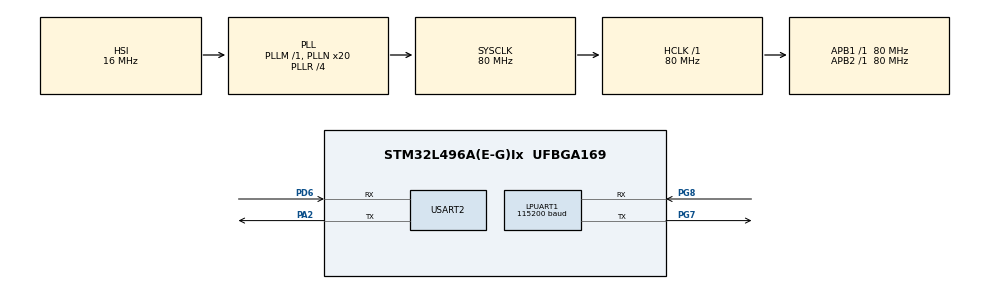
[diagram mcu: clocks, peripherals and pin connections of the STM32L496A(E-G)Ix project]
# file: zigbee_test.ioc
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FREERTOS.Tasks01=defaultTask,0,128,StartDefaultTask,Default,NULL,Dynamic,NULL,NULL
FREERTOS.configCHECK_FOR_STACK_OVERFLOW=2
FREERTOS.configGENERATE_RUN_TIME_STATS=1
FREERTOS.configTOTAL_HEAP_SIZE=16000
FREERTOS.configUSE_MALLOC_FAILED_HOOK=1
FREERTOS.configUSE_STATS_FORMATTING_FUNCTIONS=1
FREERTOS.configUSE_TRACE_FACILITY=1
LPUART1.BaudRate=115200
LPUART1.DMADisableonRxErrorParam=UART_ADVFEATURE_DMA_DISABLEONRXERROR
LPUART1.OverrunDisableParam=UART_ADVFEATURE_OVERRUN_DISABLE
LPUART1.WordLength=UART_WORDLENGTH_8B
Mcu.Family=STM32L4
Mcu.Name=STM32L496A(E-G)Ix
Mcu.Package=UFBGA169
NVIC.LPUART1_IRQn=true\:5\:0\:false\:false\:true\:true\:true\:true
NVIC.PriorityGroup=NVIC_PRIORITYGROUP_4
NVIC.TIM1_UP_TIM16_IRQn=true\:0\:0\:false\:false\:true\:false\:false\:true
NVIC.TimeBase=TIM1_UP_TIM16_IRQn
NVIC.TimeBaseIP=TIM1
PA2.Mode=Asynchronous
PA2.Signal=USART2_TX
PD6.Mode=Asynchronous
PD6.Signal=USART2_RX
PG7.Mode=Asynchronous
PG7.Signal=LPUART1_TX
PG8.Mode=Asynchronous
PG8.Signal=LPUART1_RX
ProjectManager.HeapSize=0x200
ProjectManager.StackSize=0x400
ProjectManager.TargetToolchain=STM32CubeIDE
RCC.ADCFreq_Value=64000000
RCC.AHBFreq_Value=80000000
RCC.APB1Freq_Value=80000000
RCC.APB1TimFreq_Value=80000000
RCC.APB2Freq_Value=80000000
RCC.APB2TimFreq_Value=80000000
RCC.CortexFreq_Value=80000000
RCC.HCLKFreq_Value=80000000
RCC.HSE_VALUE=8000000
RCC.HSI48_VALUE=48000000
RCC.HSI_VALUE=16000000
RCC.LSE_VALUE=32768
RCC.MSI_VALUE=4000000
RCC.PLLN=20
RCC.PLLR=RCC_PLLR_DIV4
RCC.PLLSourceVirtual=RCC_PLLSOURCE_HSI
RCC.SYSCLKFreq_VALUE=80000000
RCC.SYSCLKSource=RCC_SYSCLKSOURCE_PLLCLK
RCC.USBFreq_Value=64000000
RCC.VCOOutputFreq_Value=320000000
USART2.DMADisableonRxErrorParam=ADVFEATURE_DMA_DISABLEONRXERROR
USART2.OverrunDisableParam=ADVFEATURE_OVERRUN_DISABLE
USART2.VirtualMode-Asynchronous=VM_ASYNC
VP_FREERTOS_VS_CMSIS_V1.Mode=CMSIS_V1
VP_SYS_VS_tim1.Mode=TIM1
board=custom

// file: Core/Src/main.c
/* USER CODE BEGIN Header */
/**
 ******************************************************************************
 * @file           : main.c
 * @brief          : Main program body
 ******************************************************************************
 * @attention
 *
 * <h2><center>&copy; Copyright (c) 2021 STMicroelectronics.
 * All rights reserved.</center></h2>
 *
 * This software component is licensed by ST under BSD 3-Clause license,
 * the "License"; You may not use this file except in compliance with the
 * License. You may obtain a copy of the License at:
 *                        opensource.org/licenses/BSD-3-Clause
 *
 ******************************************************************************
 */
/* USER CODE END Header */

#include "main.h"
#include "cmsis_os.h"
#include "usart.h"
#include "gpio.h"

/* USER CODE BEGIN Includes */
#include <stdarg.h>
#include <stdio.h>
#include <string.h>

#include "dbgPrint.h"
#include "mtAf.h"
#include "mtAppCfg.h"
#include "mtParser.h"
#include "mtSys.h"
#include "mtUtil.h"
#include "mtZdo.h"
#include "rpc.h"
#include "rpcTransport.h"
#include "znp_cmd.h"
#include "znp_if.h"
#include "log.h"

/* USER CODE END Includes */

void SystemClock_Config(void);
void MX_FREERTOS_Init(void);

/* USER CODE BEGIN 0 */

/////////////////////////////////////////////////

typedef enum {
    ZB_DANFOSS_ALLY,
} airmon_zigbee_device_t;

typedef struct {
    uint8_t is_initialized;
    uint32_t last_poll_time;
} zigbee_device_info_t;

typedef struct {
    char manufact_name[32];
    char device_name[32];
    airmon_zigbee_device_t type;
    uint16_t adr_short;
    uint64_t adr_ieee;

    zigbee_device_info_t info; // volatile, should not be saved
} zigbee_device_t;

zigbee_device_t *zigbee_device_get_free_handle(void) {
    static zigbee_device_t device = {0};
    return &device;
}

void zigbee_device_save(zigbee_device_t *dev) {

}

void task_maintain_devices(void *param) {

    while (1) {

    }
}

void task_register_device(void *param) {
    // parse parameter
    uint16_t *adr_p = (uint16_t *)param;
    uint16_t adr = *adr_p;

    // feedback
    log_print("[0x%04x] -> Device init started\r\n", adr);

    // get free device handle
    zigbee_device_t *dev = zigbee_device_get_free_handle();

    // sanity check
    if (dev == NULL) {
        // feedback
        log_print("[0x%04x] -> No more free handles\r\n", adr);

        // done, stop the task
        goto end_task;
    }

    // update device address
    dev->adr_short = adr;

    // check if the device already exists
    if (!znp_if_dev_exists(dev->adr_short)) {
        // feedback
        log_print("[0x%04x] -> Device not registered\r\n", dev->adr_short);

        // done, stop the task
        goto end_task;
    }

    // refresh device info
    if (znp_cmd_dev_refresh_info(dev->adr_short) != 0) {
        // feedback
        log_print("[0x%04x] -> Device couldn't be refreshed\r\n", dev->adr_short);

        // done, stop the task
        goto end_task;
    }

    // register device info
    if (znp_cmd_dev_register(dev->adr_short) != 0) {
        // feedback
        log_print("[0x%04x] -> Device couldn't be registered\r\n", dev->adr_short);

        // done, stop the task
        goto end_task;
    }

    // read ieee address
    if (znp_cmd_dev_get_ieee(dev->adr_short, &dev->adr_ieee) != 0) {
        // feedback
        log_print("[0x%04x] -> Device IEEE couldn't be read\r\n", dev->adr_short);

        // done, stop the task
        goto end_task;
    }

    // read manufacturer name cluster
    zcl_cluster_record_t wr;
    if (znp_cmd_cluster_in_read(dev->adr_short, 0x0000, 0x0004, &wr) != 0) {
        // feedback
        log_print("[0x%04x] -> Device couldn't be read\r\n", dev->adr_short);

        // done, stop the task
        goto end_task;
    }

    // check received type
    if (wr.type != ZCL_CHARACTER_STRING) {
        // feedback
        log_print("[0x%04x] -> Device response type not ok\r\n", dev->adr_short);

        // done, stop the task
        goto end_task;
    }

    // save the name
    memcpy(dev->manufact_name, wr.data_arr, MIN(32, wr.data_arr_len));

    // read device name cluster
    if (znp_cmd_cluster_in_read(dev->adr_short, 0x0000, 0x0005, &wr) != 0) {
        // feedback
        log_print("[0x%04x] -> Device couldn't be read\r\n", dev->adr_short);

        // done, stop the task
        goto end_task;
    }

    // check received type
    if (wr.type != ZCL_CHARACTER_STRING) {
        // feedback
        log_print("[0x%04x] -> Device response type not ok\r\n", dev->adr_short);

        // done, stop the task
        goto end_task;
    }

    // save the name
    memcpy(dev->device_name, wr.data_arr, MIN(32, wr.data_arr_len));

    // print device info
    uint32_t top = dev->adr_ieee >> 32;
    uint32_t bot = dev->adr_ieee & 0xffffffff;
    log_print("[0x%04x] -> IEEE Address: 0x%08x%08x\r\n", dev->adr_short, top, bot);
    log_print("[0x%04x] -> Manufacturer name: %s\r\n", dev->adr_short, dev->manufact_name);
    log_print("[0x%04x] -> Device name: %s\r\n", dev->adr_short, dev->device_name);

    // save the device
    zigbee_device_save(dev);

// stop the task
end_task:
    vTaskDelete(NULL);
}

void device_active_response(uint16_t adr) {
    xTaskCreate(task_register_device, "dev-reg", 1024, (void *)&adr, 6, NULL);
    vTaskDelay(10);
}

void rcpWaitPeriod(uint32_t period) {
	uint32_t waittime = period;
	uint32_t start = xTaskGetTickCount();
	while (rpcWaitMqClientMsg(waittime) == 0) {
		uint32_t passed_time = start - xTaskGetTickCount();
		waittime -= passed_time;
		start = xTaskGetTickCount();
	}
}

void znp_nvm_reset(void) {
	ResetReqFormat_t rst;
	OsalNvWriteFormat_t req;

	// Clear complete memory of CC2530
	req.Id = 0x0003;
	req.Offset = 0x00;
	req.Len = 0x01;
	req.Value[0] = 0x03;
	sysOsalNvWrite(&req);

	// hard reset
	rst.Type = 0x00;
	sysResetReq(&rst);
}

// init coordinator
// taken from https://sunmaysky.blogspot.com/2017/02/use-ztool-z-stack-30-znp-to-set-up.html
int znp_init_coordinator(uint8_t enable_commissioning) {
	OsalNvWriteFormat_t req;
	setChannelFormat_t chn;
	startCommissioningFormat_t strt;
	ResetReqFormat_t rst;

	// wait a second
	vTaskDelay(1000);
	log_print("1 ----------------------\r\n");

	// soft reset
	rst.Type = 0x01;
	sysResetReq(&rst);

	vTaskDelay(4000);
	log_print("2 ----------------------\r\n");

	// Write ZCD_NV_LOGICAL_TYPE to 0 which means coordinator
	req.Id = 0x0087;
	req.Offset = 0x00;
	req.Len = 0x01;
	req.Value[0] = 0x00;
	sysOsalNvWrite(&req);

	vTaskDelay(1000);
	log_print("3 ----------------------\r\n");

	// set primary channel to 13
	chn.primaryChannel = 1;
	chn.channel = CFG_CHANNEL_0x00002000;
	appCfgSetChannel(&chn);

	vTaskDelay(1000);
	log_print("4 ----------------------\r\n");

	// disable secondary channel
	chn.primaryChannel = 0;
	chn.channel = CFG_CHANNEL_NONE;
	appCfgSetChannel(&chn);

	vTaskDelay(1000);
	log_print("5 ----------------------\r\n");

	// start commissioning using network formation
	strt.commissioningMode = CFG_COMM_MODE_NWK_FORMATION;
	appCfgStartCommissioning(&strt);

	vTaskDelay(10000);
	log_print("6 ----------------------\r\n");

	if (enable_commissioning) {
		// get device info
		utilGetDeviceInfo();

		vTaskDelay(1000);
		log_print("7 ----------------------\r\n");

		// Write ZCD_NV_LOGICAL_TYPE to 0 which means coordinator
		req.Id = 0x008F;
		req.Offset = 0x00;
		req.Len = 0x01;
		req.Value[0] = 0x01;
		sysOsalNvWrite(&req);

		vTaskDelay(1000);
		log_print("8 ----------------------\r\n");

		// start commissioning using network steering
		strt.commissioningMode = CFG_COMM_MODE_NWK_STEERING;
		appCfgStartCommissioning(&strt);
	}
	else {
		// get device info
		utilGetDeviceInfo();
	}

	//
	return 0;
}

void register_clusters(uint16_t addr) {
    vTaskDelay(20000);

    // check registration
    if (!znp_if_dev_exists(addr)) {
        log_print("-> !!! Device not registered!\r\n");
        return;
    }

    log_print("9 ----------------------\r\n");

    // wait for device to be active
    while (1) {
        int ret = znp_cmd_dev_is_active(addr);
        log_print("znp_if_dev_is_active %d\r\n", ret);
        if (ret == 0)
            break;
        vTaskDelay(1000);
    }
    log_print("10 ----------------------\r\n");

    // refresh device info
    log_print("znp_if_dev_refresh_info %d\r\n", znp_cmd_dev_refresh_info(addr));
    vTaskDelay(1000);
    log_print("11 ----------------------\r\n");

    // register device
    log_print("znp_if_dev_register %d\r\n", znp_cmd_dev_register(addr));
    vTaskDelay(1000);
    log_print("12 ----------------------\r\n");

    // read device name cluster
    zcl_cluster_record_t wr;
    log_print("znp_cmd_cluster_in_read %d\r\n", znp_cmd_cluster_in_read(addr, 0, 4, &wr));
    log_print("Type: %d\r\n", wr.type);
    log_print("Str: %s\r\n", wr.data_arr);

    // write thermostat to 19 degree
    wr.type = ZCL_SIGNED_16BITS;
    wr.data_i16 = 1900;
    log_print("znp_cmd_cluster_in_write %d\r\n", znp_cmd_cluster_in_write(addr, 0x0201, 0x0012, &wr));

    // read thermostat value
    log_print("znp_cmd_cluster_in_read %d\r\n", znp_cmd_cluster_in_read(addr, 0x0201, 0x0012, &wr));
    log_print("Type: %d\r\n", wr.type);
    log_print("Data: %d\r\n", wr.data_i16);
}

/////////////////////////////////////////////////
void vAppTask(void *pvParameters) {
	log_print("System started\r\n");

	// initiailze application interface
	znp_if_init();

    // initiailze application interface
    znp_if_init();
    znp_cmd_init();

	// startup delay
	vTaskDelay(1000);

    // ping the CC2530 every second until response is ok
    uint8_t ret = 0;
    do {
        vTaskDelay(1000);
        ret = sysVersion();
    } while (ret != 0);

    // initialize coordinator
    znp_init_coordinator(0);

    // register cluster
    register_clusters(0x82bc);

	// endless loop, handle CC2530 packets
	while (1) {
		vTaskDelay(1000);
	}
}

void vPollTask(void *pvParameters) {
	// endless loop, handle CC2530 packets
	while (1) {
		rpcWaitMqClientMsg(portMAX_DELAY);
	}
}

void vComTask(void *pvParameters) {
	// init queues
	rpcInitMq();

	// initialize serial port
	rpcOpen();

    // start poll task
    xTaskCreate(vPollTask, "POLL", 1024, NULL, 5, NULL);

	// loop
	while (1) {
		// keep procesing packets
		rpcProcess();

        // give other tasks time to run
        vTaskDelay(1);
    }
}

void vApplicationStackOverflowHook(xTaskHandle xTask, signed char *pcTaskName) {
	/* Run time stack overflow checking is performed if
	 configCHECK_FOR_STACK_OVERFLOW is defined to 1 or 2. This hook function is
	 called if a stack overflow is detected. */
	log_print("-> !!! Stack overflow in %s\r\n", pcTaskName);
	while (1)
		;
}
/* USER CODE END 4 */

/* USER CODE BEGIN 5 */
void vApplicationMallocFailedHook(void) {
	/* vApplicationMallocFailedHook() will only be called if
	 configUSE_MALLOC_FAILED_HOOK is set to 1 in FreeRTOSConfig.h. It is a hook
	 function that will get called if a call to pvPortMalloc() fails.
	 pvPortMalloc() is called internally by the kernel whenever a task, queue,
	 timer or semaphore is created. It is also called by various parts of the
	 demo application. If heap_1.c or heap_2.c are used, then the size of the
	 heap available to pvPortMalloc() is defined by configTOTAL_HEAP_SIZE in
	 FreeRTOSConfig.h, and the xPortGetFreeHeapSize() API function can be used
	 to query the size of free heap space that remains (although it does not
	 provide information on how the remaining heap might be fragmented). */
	log_print("-> !!! Malloc failed\r\n");
	while (1)
		;
}
/* USER CODE END 0 */

int main(void) {

	/* MCU Configuration--------------------------------------------------------*/

	/* Reset of all peripherals, Initializes the Flash interface and the Systick. */
	HAL_Init();

	/* Configure the system clock */
	SystemClock_Config();

	/* Initialize all configured peripherals */
	MX_GPIO_Init();
	MX_LPUART1_UART_Init();
	MX_USART2_UART_Init();
	/* USER CODE BEGIN 2 */
	log_init();

    xTaskCreate(vAppTask, "APP", 2048, NULL, 5, NULL);
    xTaskCreate(vComTask, "COM", 1024, NULL, 6, NULL);

	/* USER CODE END 2 */

	/* Call init function for freertos objects (in freertos.c) */
	MX_FREERTOS_Init();
	/* Start scheduler */
	osKernelStart();

	/* We should never get here as control is now taken by the scheduler */
	/* Infinite loop */
	while (1) {

	}
}

void SystemClock_Config(void) {
	RCC_OscInitTypeDef RCC_OscInitStruct = { 0 };
	RCC_ClkInitTypeDef RCC_ClkInitStruct = { 0 };
	RCC_PeriphCLKInitTypeDef PeriphClkInit = { 0 };

	/** Initializes the CPU, AHB and APB busses clocks
	 */
	RCC_OscInitStruct.OscillatorType = RCC_OSCILLATORTYPE_HSI;
	RCC_OscInitStruct.HSIState = RCC_HSI_ON;
	RCC_OscInitStruct.HSICalibrationValue = RCC_HSICALIBRATION_DEFAULT;
	RCC_OscInitStruct.PLL.PLLState = RCC_PLL_ON;
	RCC_OscInitStruct.PLL.PLLSource = RCC_PLLSOURCE_HSI;
	RCC_OscInitStruct.PLL.PLLM = 1;
	RCC_OscInitStruct.PLL.PLLN = 20;
	RCC_OscInitStruct.PLL.PLLP = RCC_PLLP_DIV2;
	RCC_OscInitStruct.PLL.PLLQ = RCC_PLLQ_DIV2;
	RCC_OscInitStruct.PLL.PLLR = RCC_PLLR_DIV4;
	if (HAL_RCC_OscConfig(&RCC_OscInitStruct) != HAL_OK) {
		Error_Handler();
	}
	/** Initializes the CPU, AHB and APB busses clocks
	 */
	RCC_ClkInitStruct.ClockType = RCC_CLOCKTYPE_HCLK | RCC_CLOCKTYPE_SYSCLK | RCC_CLOCKTYPE_PCLK1 | RCC_CLOCKTYPE_PCLK2;
	RCC_ClkInitStruct.SYSCLKSource = RCC_SYSCLKSOURCE_PLLCLK;
	RCC_ClkInitStruct.AHBCLKDivider = RCC_SYSCLK_DIV1;
	RCC_ClkInitStruct.APB1CLKDivider = RCC_HCLK_DIV1;
	RCC_ClkInitStruct.APB2CLKDivider = RCC_HCLK_DIV1;

	if (HAL_RCC_ClockConfig(&RCC_ClkInitStruct, FLASH_LATENCY_4) != HAL_OK) {
		Error_Handler();
	}
	PeriphClkInit.PeriphClockSelection = RCC_PERIPHCLK_USART2 | RCC_PERIPHCLK_LPUART1;
	PeriphClkInit.Usart2ClockSelection = RCC_USART2CLKSOURCE_PCLK1;
	PeriphClkInit.Lpuart1ClockSelection = RCC_LPUART1CLKSOURCE_PCLK1;
	if (HAL_RCCEx_PeriphCLKConfig(&PeriphClkInit) != HAL_OK) {
		Error_Handler();
	}
	/** Configure the main internal regulator output voltage
	 */
	if (HAL_PWREx_ControlVoltageScaling(PWR_REGULATOR_VOLTAGE_SCALE1) != HAL_OK) {
		Error_Handler();
	}
}

void HAL_TIM_PeriodElapsedCallback(TIM_HandleTypeDef *htim) {
	if (htim->Instance == TIM1) {
		HAL_IncTick();
	}
}

void Error_Handler(void) {
}

/************************ (C) COPYRIGHT STMicroelectronics *****END OF FILE****/

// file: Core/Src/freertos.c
/* USER CODE BEGIN Header */
/**
  ******************************************************************************
  * File Name          : freertos.c
  * Description        : Code for freertos applications
  ******************************************************************************
  * @attention
  *
  * <h2><center>&copy; Copyright (c) 2021 STMicroelectronics.
  * All rights reserved.</center></h2>
  *
  * This software component is licensed by ST under Ultimate Liberty license
  * SLA0044, the "License"; You may not use this file except in compliance with
  * the License. You may obtain a copy of the License at:
  *                             www.st.com/SLA0044
  *
  ******************************************************************************
  */
/* USER CODE END Header */

#include "FreeRTOS.h"
#include "task.h"
#include "main.h"
#include "cmsis_os.h"

osThreadId defaultTaskHandle;

void StartDefaultTask(void const * argument);

void MX_FREERTOS_Init(void); /* (MISRA C 2004 rule 8.1) */

/* GetIdleTaskMemory prototype (linked to static allocation support) */
void vApplicationGetIdleTaskMemory( StaticTask_t **ppxIdleTaskTCBBuffer, StackType_t **ppxIdleTaskStackBuffer, uint32_t *pulIdleTaskStackSize );

/* Hook prototypes */
void configureTimerForRunTimeStats(void);
unsigned long getRunTimeCounterValue(void);
void vApplicationStackOverflowHook(xTaskHandle xTask, signed char *pcTaskName);
void vApplicationMallocFailedHook(void);

/* USER CODE BEGIN 1 */
/* Functions needed when configGENERATE_RUN_TIME_STATS is on */
__weak void configureTimerForRunTimeStats(void)
{

}

__weak unsigned long getRunTimeCounterValue(void)
{
return 0;
}
/* USER CODE END 1 */

/* USER CODE BEGIN 4 */
__weak void vApplicationStackOverflowHook(xTaskHandle xTask, signed char *pcTaskName)
{
   /* Run time stack overflow checking is performed if
   configCHECK_FOR_STACK_OVERFLOW is defined to 1 or 2. This hook function is
   called if a stack overflow is detected. */
}
/* USER CODE END 4 */

/* USER CODE BEGIN 5 */
__weak void vApplicationMallocFailedHook(void)
{
   /* vApplicationMallocFailedHook() will only be called if
   configUSE_MALLOC_FAILED_HOOK is set to 1 in FreeRTOSConfig.h. It is a hook
   function that will get called if a call to pvPortMalloc() fails.
   pvPortMalloc() is called internally by the kernel whenever a task, queue,
   timer or semaphore is created. It is also called by various parts of the
   demo application. If heap_1.c or heap_2.c are used, then the size of the
   heap available to pvPortMalloc() is defined by configTOTAL_HEAP_SIZE in
   FreeRTOSConfig.h, and the xPortGetFreeHeapSize() API function can be used
   to query the size of free heap space that remains (although it does not
   provide information on how the remaining heap might be fragmented). */
}
/* USER CODE END 5 */

/* USER CODE BEGIN GET_IDLE_TASK_MEMORY */
static StaticTask_t xIdleTaskTCBBuffer;
static StackType_t xIdleStack[configMINIMAL_STACK_SIZE];

void vApplicationGetIdleTaskMemory( StaticTask_t **ppxIdleTaskTCBBuffer, StackType_t **ppxIdleTaskStackBuffer, uint32_t *pulIdleTaskStackSize )
{
  *ppxIdleTaskTCBBuffer = &xIdleTaskTCBBuffer;
  *ppxIdleTaskStackBuffer = &xIdleStack[0];
  *pulIdleTaskStackSize = configMINIMAL_STACK_SIZE;
  /* place for user code */
}
/* USER CODE END GET_IDLE_TASK_MEMORY */

void MX_FREERTOS_Init(void) {

  /* Create the thread(s) */
  /* definition and creation of defaultTask */
  osThreadDef(defaultTask, StartDefaultTask, osPriorityNormal, 0, 128);
  defaultTaskHandle = osThreadCreate(osThread(defaultTask), NULL);

}

void StartDefaultTask(void const * argument)
{
  for(;;)
  {
    osDelay(1);
  }
}

/************************ (C) COPYRIGHT STMicroelectronics *****END OF FILE****/
